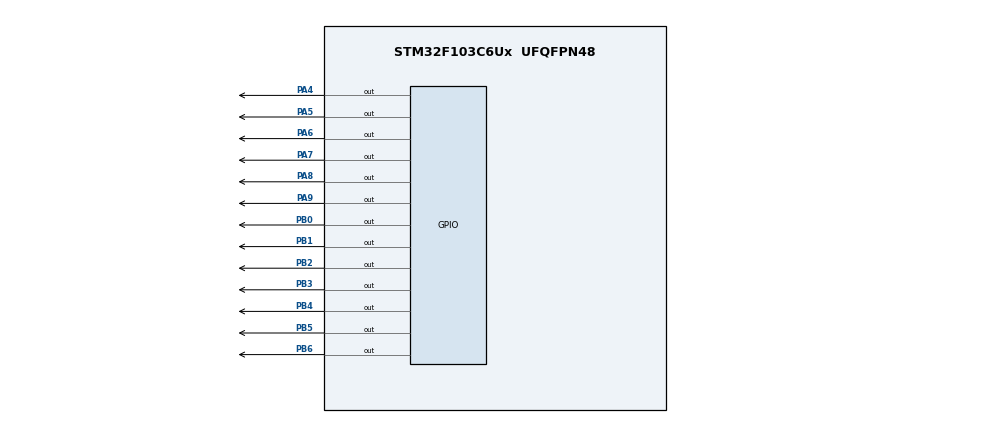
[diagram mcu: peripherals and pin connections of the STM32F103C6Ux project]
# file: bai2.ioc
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Mcu.Family=STM32F1
Mcu.Name=STM32F103C6Ux
Mcu.Package=UFQFPN48
NVIC.PriorityGroup=NVIC_PRIORITYGROUP_4
NVIC.TIM2_IRQn=true\:0\:0\:false\:false\:true\:true\:true\:true
PA4.Signal=GPIO_Output
PA5.Signal=GPIO_Output
PA6.Signal=GPIO_Output
PA7.Signal=GPIO_Output
PA8.Signal=GPIO_Output
PA9.Signal=GPIO_Output
PB0.Signal=GPIO_Output
PB1.Signal=GPIO_Output
PB2.Signal=GPIO_Output
PB3.Signal=GPIO_Output
PB4.Signal=GPIO_Output
PB5.Signal=GPIO_Output
PB6.Signal=GPIO_Output
ProjectManager.HeapSize=0x200
ProjectManager.StackSize=0x400
ProjectManager.TargetToolchain=STM32CubeIDE
RCC.APB1Freq_Value=8000000
RCC.APB2Freq_Value=8000000
TIM2.Period=9
TIM2.Prescaler=7999
VP_TIM2_VS_ClockSourceINT.Mode=Internal
board=custom

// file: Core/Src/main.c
/* USER CODE BEGIN Header */
/**
  ******************************************************************************
  * @file           : main.c
  * @brief          : Main program body
  ******************************************************************************
  * @attention
  *
  * Copyright (c) 2022 STMicroelectronics.
  * All rights reserved.
  *
  * This software is licensed under terms that can be found in the LICENSE file
  * in the root directory of this software component.
  * If no LICENSE file comes with this software, it is provided AS-IS.
  *
  ******************************************************************************
  */
/* USER CODE END Header */
#include "main.h"

TIM_HandleTypeDef htim2;

void SystemClock_Config(void);
static void MX_GPIO_Init(void);
static void MX_TIM2_Init(void);

int main(void)
{

  /* MCU Configuration--------------------------------------------------------*/

  /* Reset of all peripherals, Initializes the Flash interface and the Systick. */
  HAL_Init();

  /* Configure the system clock */
  SystemClock_Config();

  /* Initialize all configured peripherals */
  MX_GPIO_Init();
  MX_TIM2_Init();
  /* USER CODE BEGIN 2 */
  HAL_TIM_Base_Start_IT(&htim2) ;
  /* USER CODE END 2 */

  /* Infinite loop */
  while (1)
  {

  }
}

void SystemClock_Config(void)
{
  RCC_OscInitTypeDef RCC_OscInitStruct = {0};
  RCC_ClkInitTypeDef RCC_ClkInitStruct = {0};

  /** Initializes the RCC Oscillators according to the specified parameters
  * in the RCC_OscInitTypeDef structure.
  */
  RCC_OscInitStruct.OscillatorType = RCC_OSCILLATORTYPE_HSI;
  RCC_OscInitStruct.HSIState = RCC_HSI_ON;
  RCC_OscInitStruct.HSICalibrationValue = RCC_HSICALIBRATION_DEFAULT;
  RCC_OscInitStruct.PLL.PLLState = RCC_PLL_NONE;
  if (HAL_RCC_OscConfig(&RCC_OscInitStruct) != HAL_OK)
  {
    Error_Handler();
  }

  /** Initializes the CPU, AHB and APB buses clocks
  */
  RCC_ClkInitStruct.ClockType = RCC_CLOCKTYPE_HCLK|RCC_CLOCKTYPE_SYSCLK
                              |RCC_CLOCKTYPE_PCLK1|RCC_CLOCKTYPE_PCLK2;
  RCC_ClkInitStruct.SYSCLKSource = RCC_SYSCLKSOURCE_HSI;
  RCC_ClkInitStruct.AHBCLKDivider = RCC_SYSCLK_DIV1;
  RCC_ClkInitStruct.APB1CLKDivider = RCC_HCLK_DIV1;
  RCC_ClkInitStruct.APB2CLKDivider = RCC_HCLK_DIV1;

  if (HAL_RCC_ClockConfig(&RCC_ClkInitStruct, FLASH_LATENCY_0) != HAL_OK)
  {
    Error_Handler();
  }
}

static void MX_TIM2_Init(void)
{

  TIM_ClockConfigTypeDef sClockSourceConfig = {0};
  TIM_MasterConfigTypeDef sMasterConfig = {0};

  htim2.Instance = TIM2;
  htim2.Init.Prescaler = 7999;
  htim2.Init.CounterMode = TIM_COUNTERMODE_UP;
  htim2.Init.Period = 9;
  htim2.Init.ClockDivision = TIM_CLOCKDIVISION_DIV1;
  htim2.Init.AutoReloadPreload = TIM_AUTORELOAD_PRELOAD_DISABLE;
  if (HAL_TIM_Base_Init(&htim2) != HAL_OK)
  {
    Error_Handler();
  }
  sClockSourceConfig.ClockSource = TIM_CLOCKSOURCE_INTERNAL;
  if (HAL_TIM_ConfigClockSource(&htim2, &sClockSourceConfig) != HAL_OK)
  {
    Error_Handler();
  }
  sMasterConfig.MasterOutputTrigger = TIM_TRGO_RESET;
  sMasterConfig.MasterSlaveMode = TIM_MASTERSLAVEMODE_DISABLE;
  if (HAL_TIMEx_MasterConfigSynchronization(&htim2, &sMasterConfig) != HAL_OK)
  {
    Error_Handler();
  }

}

static void MX_GPIO_Init(void)
{
  GPIO_InitTypeDef GPIO_InitStruct = {0};

  /* GPIO Ports Clock Enable */
  __HAL_RCC_GPIOA_CLK_ENABLE();
  __HAL_RCC_GPIOB_CLK_ENABLE();

  /*Configure GPIO pin Output Level */
  HAL_GPIO_WritePin(GPIOA, GPIO_PIN_4|GPIO_PIN_5|GPIO_PIN_6|GPIO_PIN_7
                          |GPIO_PIN_8|GPIO_PIN_9, GPIO_PIN_RESET);

  /*Configure GPIO pin Output Level */
  HAL_GPIO_WritePin(GPIOB, GPIO_PIN_0|GPIO_PIN_1|GPIO_PIN_2|GPIO_PIN_3
                          |GPIO_PIN_4|GPIO_PIN_5|GPIO_PIN_6, GPIO_PIN_RESET);

  /*Configure GPIO pins : PA4 PA5 PA6 PA7
                           PA8 PA9 */
  GPIO_InitStruct.Pin = GPIO_PIN_4|GPIO_PIN_5|GPIO_PIN_6|GPIO_PIN_7
                          |GPIO_PIN_8|GPIO_PIN_9;
  GPIO_InitStruct.Mode = GPIO_MODE_OUTPUT_PP;
  GPIO_InitStruct.Pull = GPIO_NOPULL;
  GPIO_InitStruct.Speed = GPIO_SPEED_FREQ_LOW;
  HAL_GPIO_Init(GPIOA, &GPIO_InitStruct);

  /*Configure GPIO pins : PB0 PB1 PB2 PB3
                           PB4 PB5 PB6 */
  GPIO_InitStruct.Pin = GPIO_PIN_0|GPIO_PIN_1|GPIO_PIN_2|GPIO_PIN_3
                          |GPIO_PIN_4|GPIO_PIN_5|GPIO_PIN_6;
  GPIO_InitStruct.Mode = GPIO_MODE_OUTPUT_PP;
  GPIO_InitStruct.Pull = GPIO_NOPULL;
  GPIO_InitStruct.Speed = GPIO_SPEED_FREQ_LOW;
  HAL_GPIO_Init(GPIOB, &GPIO_InitStruct);

}

/* USER CODE BEGIN 4 */
unsigned char SEG[10] = {0x40, 0x79, 0x24, 0x30, 0x19, 0x12, 0x02, 0x78, 0x00, 0x10};
void display7SEG(int num) {
	GPIOB->ODR = SEG[num];
}
char switch7SEG = 0;
const int reset_counter1 = 100;
const int reset_counter2 = 50;
const int reset_counter3 = 100;
int counter1 = reset_counter1;
int counter2 = reset_counter2;
int counter3 = reset_counter3;
void HAL_TIM_PeriodElapsedCallback (TIM_HandleTypeDef * htim) {
	if (counter1 > 0) {
		counter1--;
		if (counter1 <= 0) {
			counter1 = reset_counter1;
			//TODO
			HAL_GPIO_TogglePin(GPIOA, GPIO_PIN_5);
		}
	}
	if (counter2 > 0) {
		counter2--;
		if (counter2 <= 0) {
			counter2 = reset_counter2;
			if (switch7SEG >= 4) {
				switch7SEG = 0;
			}
			if (switch7SEG == 0) {
				HAL_GPIO_WritePin(GPIOA, GPIO_PIN_6, RESET);
				HAL_GPIO_WritePin(GPIOA, GPIO_PIN_7, SET);
				HAL_GPIO_WritePin(GPIOA, GPIO_PIN_8, SET);
				HAL_GPIO_WritePin(GPIOA, GPIO_PIN_9, SET);
				display7SEG(1);
			} else if (switch7SEG == 1) {
				HAL_GPIO_WritePin(GPIOA, GPIO_PIN_6, SET);
				HAL_GPIO_WritePin(GPIOA, GPIO_PIN_7, RESET);
				HAL_GPIO_WritePin(GPIOA, GPIO_PIN_8, SET);
				HAL_GPIO_WritePin(GPIOA, GPIO_PIN_9, SET);
				display7SEG(2);
			} else if (switch7SEG == 2) {
				HAL_GPIO_WritePin(GPIOA, GPIO_PIN_6, SET);
				HAL_GPIO_WritePin(GPIOA, GPIO_PIN_7, SET);
				HAL_GPIO_WritePin(GPIOA, GPIO_PIN_8, RESET);
				HAL_GPIO_WritePin(GPIOA, GPIO_PIN_9, SET);
				display7SEG(3);
			} else if (switch7SEG == 3) {
				HAL_GPIO_WritePin(GPIOA, GPIO_PIN_6, SET);
				HAL_GPIO_WritePin(GPIOA, GPIO_PIN_7, SET);
				HAL_GPIO_WritePin(GPIOA, GPIO_PIN_8, SET);
				HAL_GPIO_WritePin(GPIOA, GPIO_PIN_9, RESET);
				display7SEG(0);
			}
			switch7SEG++;
		}
	}
	if (counter3 > 0) {
		counter3--;
		if (counter3 <= 0) {
			counter3 = reset_counter3;
			//TODO
			HAL_GPIO_TogglePin(GPIOA, GPIO_PIN_4);
		}
	}
}
/* USER CODE END 4 */

void Error_Handler(void)
{
  __disable_irq();
  while (1)
  {
  }
}
